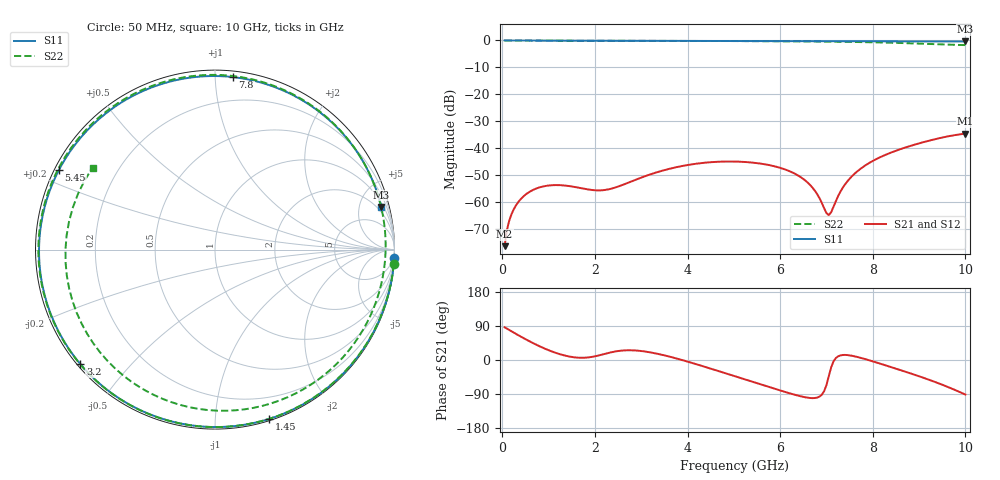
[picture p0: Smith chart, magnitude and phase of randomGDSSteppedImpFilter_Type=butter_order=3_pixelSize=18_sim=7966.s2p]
! freq	dB(S11)	phase(S11)	dB(S12)	phase(S12)
!  dB(S21)	phase(S21)	dB(S22)	phase(S22)
!S-par simulation data
#  GHz  S  DB  R 50
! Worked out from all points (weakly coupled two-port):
!   200 points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, 50 MHz to 10 GHz, reference 50 ohm
!   highest |S21| = -34.52 dB at 10 GHz (marker M1); lowest = -76.2 dB at 50 MHz (marker M2)
!   lowest |S11| = -0.4 dB at 10 GHz (marker M3), VSWR 45.06, Z = 69 + j385 ohm
!   |S11| at or under -10 dB: nowhere
!   |S22| runs from -1.7 to 0.0 dB; largest |S21 - S12| = 0
!   S11 on the Smith chart (normalised r, x): 50 MHz: 0, -43; 1.45 GHz: 0.01, -1.37; 3.2 GHz: 0.01, -0.37; 5.45 GHz: 0.01, +0.24; 7.8 GHz: 0.04, +1.11; 10 GHz: 1.38, +7.70
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0.05  -0.00 -2.7  -76.20 86.4  -76.20 86.4  -0.00 -4.6
0.2  -0.02 -10.6  -64.30 75.6  -64.30 75.6  -0.03 -18.4
0.45  -0.03 -23.6  -57.88 58.3  -57.88 58.3  -0.06 -40.6
0.9  -0.06 -46.4  -54.01 31.0  -54.01 31.0  -0.09 -76.8
1.45  -0.08 -72.3  -53.95 9.1  -53.95 9.1  -0.11 -113.4
1.75  -0.10 -85.5  -54.88 5.9  -54.88 5.9  -0.12 -130.3
2.45  -0.12 -113.4  -54.42 22.7  -54.42 22.7  -0.13 -163.7
3.2  -0.13 -139.7  -49.59 20.0  -49.59 20.0  -0.15 165.7
3.4  -0.14 -146.2  -48.51 15.1  -48.51 15.1  -0.15 158.0
4.3  -0.16 -173.9  -45.42 -15.2  -45.42 -15.2  -0.18 123.7
5.05  -0.19 164.4  -44.87 -43.9  -44.87 -43.9  -0.23 94.1
5.45  -0.21 153.0  -45.33 -59.4  -45.33 -59.4  -0.26 77.3
6.2  -0.24 131.5  -48.41 -87.7  -48.41 -87.7  -0.32 43.7
6.7  -0.26 117.0  -54.56 -100.6  -54.56 -100.6  -0.38 19.3
7.05  -0.27 106.7  -64.70 -42.7  -64.70 -42.7  -0.44 1.3
7.4  -0.28 96.2  -53.35 13.4  -53.35 13.4  -0.51 -17.4
7.8  -0.30 84.0  -46.73 3.7  -46.73 3.7  -0.61 -39.9
8.35  -0.32 66.9  -41.83 -17.0  -41.83 -17.0  -0.82 -73.1
8.75  -0.33 54.2  -39.40 -32.7  -39.40 -32.7  -1.02 -99.7
9.15  -0.34 41.5  -37.42 -49.3  -37.42 -49.3  -1.26 -129.7
9.6  -0.36 27.1  -35.60 -70.1  -35.60 -70.1  -1.53 -170.0
10  -0.39 14.4  -34.52 -91.2  -34.52 -91.2  -1.72 146.2
